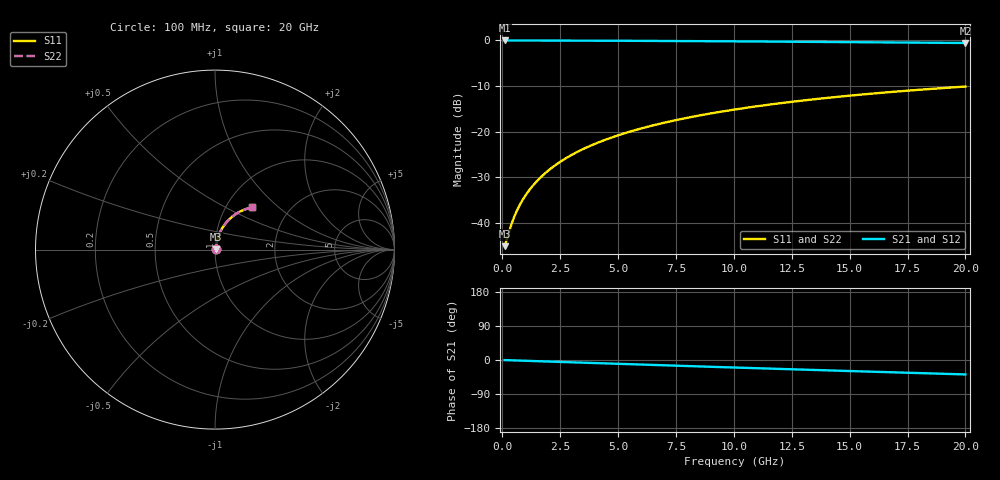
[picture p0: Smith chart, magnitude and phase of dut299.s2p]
! Touchstone file exported from HFSS 2026.1.0
!  File:  C:/ffzhzh/LocalFiles/Ansys_Project_Files/temp_train_BSMRDL_299_1782989426_41620.aedt
!  Generated:  06:51:35 PM Jul  2, 2026
!  Design:  BSMRDL
!  Project:  temp_train_BSMRDL_299_1782989426_41620
! Variables:
!  h_bsmrdl = 3.44um
!  h_ox = 20um
!  h_rdl = 5um
!  h_sub = 80um
!  h_tmrdl = 5um
!  h_tsv = 80um
!  h_via = 3um
!  l_bsmrdl = 601.69um
!  l_sub = 1001.69um
!  l_tmrdl = 200um
!  m_sub = 200um
!  pitch = 25.25um
!  r_tsv = 6um
!  s_tmrdl = 10um
!  w_bsmrdl = 12.09um
!  w_sub = 500um
!  w_tmrdl = 12um
!  x_tsv_center1 = 206um
!  x_tsv_center2 = 819.78um
!  x_tsv_center3 = 1031.78um
!  x_tsv_center4 = 1645.56um
!  x_tsv_center5 = 1857.56um
!  x_tsv_center6 = 2471.34um
# GHz S MA R 50.000000
! Terminal data exported
! Port[1] = BSM_RDL1_1_T1
! Port[2] = BSM_RDL1_1_T2
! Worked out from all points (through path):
!   200 points, 100 MHz to 20 GHz, reference 50 ohm
!   highest |S21| = -0.05 dB at 100 MHz (marker M1); lowest = -0.6 dB at 20 GHz (marker M2)
!   group delay of S21, straight-line fit = 5.29 ps
!   lowest |S11| = -45.1 dB at 100 MHz (marker M3), VSWR 1.01, Z = 50.5 + j0.207 ohm
!   |S11| at or under -10 dB: start of sweep to end of sweep
!   |S22| runs from -45.1 to -10.1 dB; largest |S21 - S12| = 2e-15
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0.1  0.005577 21.5  0.9948 -0.2  0.9948 -0.2  0.005577 21.5
! Gamma 0 0 0 0
! Port Impedance 50 0 50 0
0.4  0.009751 54.3  0.9944 -0.8  0.9944 -0.8  0.009751 54.3
0.5  0.01142 58.9  0.9942 -1.1  0.9942 -1.1  0.01142 58.9
0.6  0.01311 62.3  0.9941 -1.3  0.9941 -1.3  0.01311 62.3
0.7  0.01482 64.8  0.994 -1.5  0.994 -1.5  0.01482 64.8
0.9  0.01827 68.5  0.9937 -1.9  0.9937 -1.9  0.01827 68.5
1.1  0.02176 71.0  0.9935 -2.3  0.9935 -2.3  0.02176 71.0
1.3  0.02528 72.7  0.9933 -2.7  0.9933 -2.7  0.02528 72.7
1.7  0.03239 74.8  0.9929 -3.5  0.9929 -3.5  0.03239 74.8
2.2  0.04134 76.0  0.9924 -4.5  0.9924 -4.5  0.04134 76.0
2.8  0.0521 76.5  0.9916 -5.7  0.9916 -5.7  0.0521 76.5
3.5  0.06462 76.2  0.9905 -7.1  0.9905 -7.1  0.06462 76.2
4.2  0.07705 75.6  0.9891 -8.5  0.9891 -8.5  0.07705 75.6
5  0.0911 74.6  0.9874 -10.1  0.9874 -10.1  0.0911 74.6
5.9  0.1067 73.2  0.9852 -11.9  0.9852 -11.9  0.1067 73.2
6.8  0.122 71.8  0.9828 -13.6  0.9828 -13.6  0.122 71.8
8.3  0.1468 69.2  0.9783 -16.6  0.9783 -16.6  0.1468 69.2
10.1  0.1756 66.0  0.9723 -20.0  0.9723 -20.0  0.1756 66.0
11.7  0.2001 63.2  0.9666 -23.0  0.9666 -23.0  0.2001 63.2
13.4  0.2251 60.2  0.9602 -26.2  0.9602 -26.2  0.2251 60.2
16.7  0.2704 54.5  0.9471 -32.2  0.9471 -32.2  0.2704 54.5
20  0.3114 48.9  0.9335 -38.1  0.9335 -38.1  0.3114 48.9
